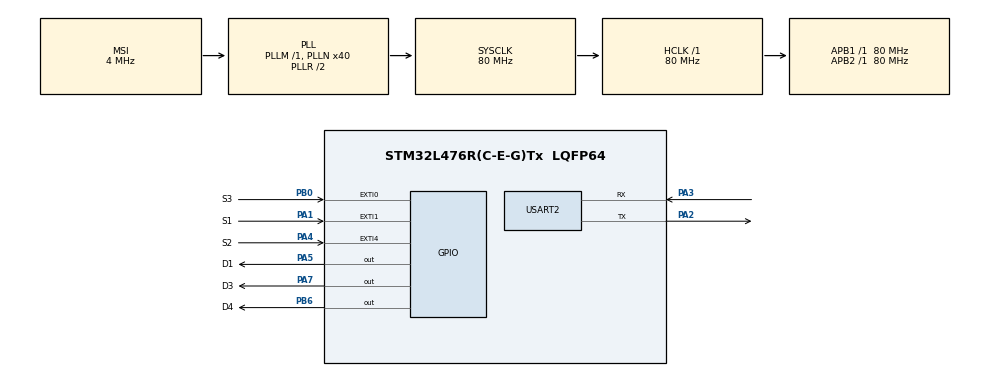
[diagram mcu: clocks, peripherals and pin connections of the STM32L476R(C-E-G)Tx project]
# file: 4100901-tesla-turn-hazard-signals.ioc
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Mcu.Family=STM32L4
Mcu.Name=STM32L476R(C-E-G)Tx
Mcu.Package=LQFP64
NVIC.EXTI0_IRQn=true\:0\:0\:false\:false\:true\:true\:true\:true
NVIC.EXTI1_IRQn=true\:0\:0\:false\:false\:true\:true\:true\:true
NVIC.EXTI4_IRQn=true\:0\:0\:false\:false\:true\:true\:true\:true
NVIC.PriorityGroup=NVIC_PRIORITYGROUP_4
NVIC.USART2_IRQn=true\:0\:0\:false\:false\:true\:true\:true\:true
PA1.GPIO_Label=S1
PA1.GPIO_ModeDefaultEXTI=GPIO_MODE_IT_FALLING
PA1.Signal=GPXTI1
PA2.Mode=Asynchronous
PA2.Signal=USART2_TX
PA3.Mode=Asynchronous
PA3.Signal=USART2_RX
PA4.GPIO_Label=S2
PA4.GPIO_ModeDefaultEXTI=GPIO_MODE_IT_FALLING
PA4.Signal=GPXTI4
PA5.GPIO_Label=D1
PA5.PinState=GPIO_PIN_SET
PA5.Signal=GPIO_Output
PA7.GPIO_Label=D3
PA7.PinState=GPIO_PIN_SET
PA7.Signal=GPIO_Output
PB0.GPIO_Label=S3
PB0.GPIO_ModeDefaultEXTI=GPIO_MODE_IT_FALLING
PB0.Signal=GPXTI0
PB6.GPIO_Label=D4
PB6.PinState=GPIO_PIN_SET
PB6.Signal=GPIO_Output
ProjectManager.HeapSize=0x200
ProjectManager.StackSize=0x400
ProjectManager.TargetToolchain=STM32CubeIDE
RCC.AHBFreq_Value=80000000
RCC.APB1Freq_Value=80000000
RCC.APB1TimFreq_Value=80000000
RCC.APB2Freq_Value=80000000
RCC.APB2TimFreq_Value=80000000
RCC.CortexFreq_Value=80000000
RCC.HCLKFreq_Value=80000000
RCC.HSE_VALUE=8000000
RCC.HSI_VALUE=16000000
RCC.LSE_VALUE=32768
RCC.MSI_VALUE=4000000
RCC.PLLN=40
RCC.SYSCLKFreq_VALUE=80000000
RCC.SYSCLKSource=RCC_SYSCLKSOURCE_PLLCLK
RCC.VCOOutputFreq_Value=160000000
USART2.VirtualMode-Asynchronous=VM_ASYNC
board=custom

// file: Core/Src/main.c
/* USER CODE BEGIN Header */
/**
  ******************************************************************************
  * @file           : main.c
  * @brief          : Main program body
  ******************************************************************************
  * @attention
  *
  * Copyright (c) 2024 STMicroelectronics.
  * All rights reserved.
  *
  * This software is licensed under terms that can be found in the LICENSE file
  * in the root directory of this software component.
  * If no LICENSE file comes with this software, it is provided AS-IS.
  *
  ******************************************************************************
  */
/* USER CODE END Header */
#include "main.h"
#define DEBOUNCE_TIME 200

#define DOC_NUMBER "1006554210"
#define DOC_LENGTH 10
#define NAME "Oscar Gutierrez"

uint8_t received_bytes_count = 0;
uint8_t buffer[DOC_LENGTH] = {0};
/* USER CODE BEGIN Includes */

#include "ring_buffer.h"

/* USER CODE END Includes */

UART_HandleTypeDef huart2;

/* USER CODE BEGIN PV */
uint32_t left_toggles = 0;
uint32_t right_toggles = 0,hazard_toggles=0;
uint32_t last_debounce_time_left = 0;
uint32_t last_debounce_time_right = 0,last_debounce_time_hazard = 0;
uint32_t counter_right=0, counter_left=0,counter_hazard=0;
uint8_t data;

/* USER CODE END PV */

void SystemClock_Config(void);
static void MX_GPIO_Init(void);
static void MX_USART2_UART_Init(void);
/* USER CODE BEGIN PFP */

void HAL_UART_RxCpltCallback(UART_HandleTypeDef *huart){
    if(huart->Instance == USART2){
        if (received_bytes_count < DOC_LENGTH) {
            // Guardar el byte en el buffer temporal
            buffer[received_bytes_count] = data;
            received_bytes_count++;
        }

        if (received_bytes_count == DOC_LENGTH) {
            // Revisar si los primeros 8 bytes coinciden con el número de cédula
            if (memcmp(buffer, DOC_NUMBER, DOC_LENGTH) == 0) {
                HAL_UART_Transmit(&huart2, (uint8_t*)NAME, strlen(NAME), HAL_MAX_DELAY);
            }
            // Reiniciar el conteo para poder procesar un nuevo grupo de datos
            received_bytes_count = 0;
        }

        // Reanudar la recepción del siguiente byte
        HAL_UART_Receive_IT(&huart2, &data, 1);
    }
}

void HAL_GPIO_EXTI_Callback(uint16_t GPIO_Pin)
{

  }

  /* NOTE: This function should not be modified, when the callback is needed,
           the HAL_GPIO_EXTI_Callback could be implemented in the user file
   */

/* USER CODE END PFP */

/* USER CODE BEGIN 0 */

//Funcionde parpadeo para comprobar el funcionamiento.
void heartbeat (void){

	static uint32_t heartbeat_tick = 0;
	if(heartbeat_tick  < HAL_GetTick() ){
		heartbeat_tick = HAL_GetTick() + 500;
		HAL_GPIO_TogglePin(D1_GPIO_Port, D1_Pin);
	}
}
/* USER CODE END 0 */

int main(void)
{

  /* MCU Configuration--------------------------------------------------------*/

  /* Reset of all peripherals, Initializes the Flash interface and the Systick. */
                                                                                                                                                                                                                                                                                                                                                             HAL_Init();

  /* Configure the system clock */
  SystemClock_Config();

  /* Initialize all configured peripherals */
  MX_GPIO_Init();
  MX_USART2_UART_Init();

  /* Infinite loop */
  /* USER CODE BEGIN WHILE */

  HAL_UART_Receive_IT(&huart2,&data, 1);
  while (1)
  {

	  uint8_t byte = 0;
	//  if(ring_buffer_read(&byte)!=0){
	//	  HAL_UART_Transmit(&huart2,&byte,1,10);
	//  }

    /*  if (ring_buffer_read(&byte) != 0) {
          // Shift the buffer to the left and add the new byte at the end
          memmove(buffer, buffer + 1, DOC_LENGTH - 1);
          buffer[DOC_LENGTH - 1] = byte;

          // Check if the received sequence matches the document number
          if (memcmp(buffer, DOC_NUMBER, DOC_LENGTH) == 0) {
              HAL_UART_Transmit(&huart2, (uint8_t*)NAME, strlen(NAME), HAL_MAX_DELAY);
          }
      }*/

	  }
    /* USER CODE END WHILE */

  }

void SystemClock_Config(void)
{
  RCC_OscInitTypeDef RCC_OscInitStruct = {0};
  RCC_ClkInitTypeDef RCC_ClkInitStruct = {0};

  /** Configure the main internal regulator output voltage
  */
  if (HAL_PWREx_ControlVoltageScaling(PWR_REGULATOR_VOLTAGE_SCALE1) != HAL_OK)
  {
    Error_Handler();
  }

  /** Initializes the RCC Oscillators according to the specified parameters
  * in the RCC_OscInitTypeDef structure.
  */
  RCC_OscInitStruct.OscillatorType = RCC_OSCILLATORTYPE_MSI;
  RCC_OscInitStruct.MSIState = RCC_MSI_ON;
  RCC_OscInitStruct.MSICalibrationValue = 0;
  RCC_OscInitStruct.MSIClockRange = RCC_MSIRANGE_6;
  RCC_OscInitStruct.PLL.PLLState = RCC_PLL_ON;
  RCC_OscInitStruct.PLL.PLLSource = RCC_PLLSOURCE_MSI;
  RCC_OscInitStruct.PLL.PLLM = 1;
  RCC_OscInitStruct.PLL.PLLN = 40;
  RCC_OscInitStruct.PLL.PLLP = RCC_PLLP_DIV7;
  RCC_OscInitStruct.PLL.PLLQ = RCC_PLLQ_DIV2;
  RCC_OscInitStruct.PLL.PLLR = RCC_PLLR_DIV2;
  if (HAL_RCC_OscConfig(&RCC_OscInitStruct) != HAL_OK)
  {
    Error_Handler();
  }

  /** Initializes the CPU, AHB and APB buses clocks
  */
  RCC_ClkInitStruct.ClockType = RCC_CLOCKTYPE_HCLK|RCC_CLOCKTYPE_SYSCLK
                              |RCC_CLOCKTYPE_PCLK1|RCC_CLOCKTYPE_PCLK2;
  RCC_ClkInitStruct.SYSCLKSource = RCC_SYSCLKSOURCE_PLLCLK;
  RCC_ClkInitStruct.AHBCLKDivider = RCC_SYSCLK_DIV1;
  RCC_ClkInitStruct.APB1CLKDivider = RCC_HCLK_DIV1;
  RCC_ClkInitStruct.APB2CLKDivider = RCC_HCLK_DIV1;

  if (HAL_RCC_ClockConfig(&RCC_ClkInitStruct, FLASH_LATENCY_4) != HAL_OK)
  {
    Error_Handler();
  }
}

static void MX_USART2_UART_Init(void)
{

  huart2.Instance = USART2;
  huart2.Init.BaudRate = 115200;
  huart2.Init.WordLength = UART_WORDLENGTH_8B;
  huart2.Init.StopBits = UART_STOPBITS_1;
  huart2.Init.Parity = UART_PARITY_NONE;
  huart2.Init.Mode = UART_MODE_TX_RX;
  huart2.Init.HwFlowCtl = UART_HWCONTROL_NONE;
  huart2.Init.OverSampling = UART_OVERSAMPLING_16;
  huart2.Init.OneBitSampling = UART_ONE_BIT_SAMPLE_DISABLE;
  huart2.AdvancedInit.AdvFeatureInit = UART_ADVFEATURE_NO_INIT;
  if (HAL_UART_Init(&huart2) != HAL_OK)
  {
    Error_Handler();
  }

}

static void MX_GPIO_Init(void)
{
  GPIO_InitTypeDef GPIO_InitStruct = {0};

  /* GPIO Ports Clock Enable */
  __HAL_RCC_GPIOA_CLK_ENABLE();
  __HAL_RCC_GPIOB_CLK_ENABLE();

  /*Configure GPIO pin Output Level */
  HAL_GPIO_WritePin(GPIOA, D1_Pin|D3_Pin, GPIO_PIN_SET);

  /*Configure GPIO pin Output Level */
  HAL_GPIO_WritePin(D4_GPIO_Port, D4_Pin, GPIO_PIN_SET);

  /*Configure GPIO pins : S1_Pin S2_Pin */
  GPIO_InitStruct.Pin = S1_Pin|S2_Pin;
  GPIO_InitStruct.Mode = GPIO_MODE_IT_FALLING;
  GPIO_InitStruct.Pull = GPIO_NOPULL;
  HAL_GPIO_Init(GPIOA, &GPIO_InitStruct);

  /*Configure GPIO pins : D1_Pin D3_Pin */
  GPIO_InitStruct.Pin = D1_Pin|D3_Pin;
  GPIO_InitStruct.Mode = GPIO_MODE_OUTPUT_PP;
  GPIO_InitStruct.Pull = GPIO_NOPULL;
  GPIO_InitStruct.Speed = GPIO_SPEED_FREQ_LOW;
  HAL_GPIO_Init(GPIOA, &GPIO_InitStruct);

  /*Configure GPIO pin : S3_Pin */
  GPIO_InitStruct.Pin = S3_Pin;
  GPIO_InitStruct.Mode = GPIO_MODE_IT_FALLING;
  GPIO_InitStruct.Pull = GPIO_NOPULL;
  HAL_GPIO_Init(S3_GPIO_Port, &GPIO_InitStruct);

  /*Configure GPIO pin : D4_Pin */
  GPIO_InitStruct.Pin = D4_Pin;
  GPIO_InitStruct.Mode = GPIO_MODE_OUTPUT_PP;
  GPIO_InitStruct.Pull = GPIO_NOPULL;
  GPIO_InitStruct.Speed = GPIO_SPEED_FREQ_LOW;
  HAL_GPIO_Init(D4_GPIO_Port, &GPIO_InitStruct);

  /* EXTI interrupt init*/
  HAL_NVIC_SetPriority(EXTI0_IRQn, 0, 0);
  HAL_NVIC_EnableIRQ(EXTI0_IRQn);

  HAL_NVIC_SetPriority(EXTI1_IRQn, 0, 0);
  HAL_NVIC_EnableIRQ(EXTI1_IRQn);

  HAL_NVIC_SetPriority(EXTI4_IRQn, 0, 0);
  HAL_NVIC_EnableIRQ(EXTI4_IRQn);

}

void Error_Handler(void)
{
  __disable_irq();
  while (1)
  {
  }
}
